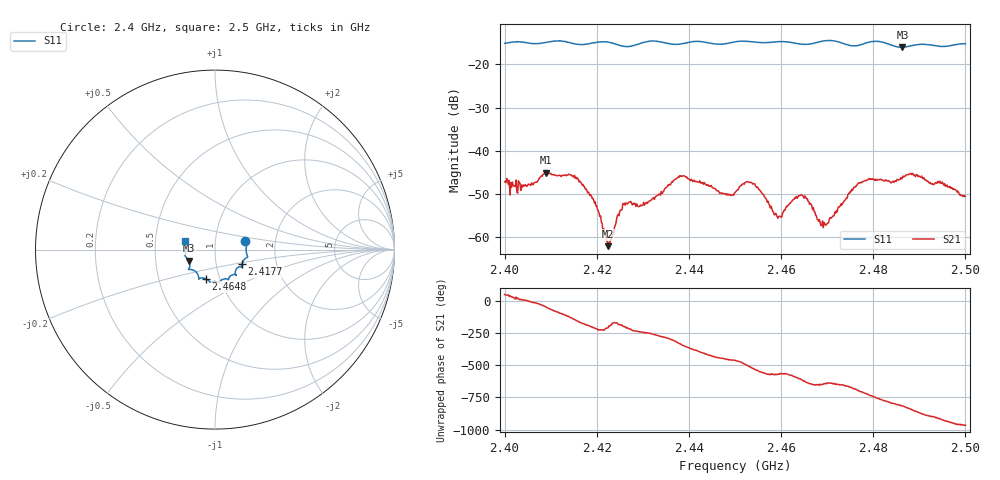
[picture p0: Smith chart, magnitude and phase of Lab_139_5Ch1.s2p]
# Hz S RI R 50
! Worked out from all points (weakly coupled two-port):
!   601 points, 2.4 GHz to 2.5 GHz, reference 50 ohm
!   highest |S21| = -45.05 dB at 2.409 GHz (marker M1); lowest = -62.0 dB at 2.4225 GHz (marker M2)
!   lowest |S11| = -16.1 dB at 2.4863 GHz (marker M3), VSWR 1.37, Z = 37.1 - j4.69 ohm
!   |S11| at or under -10 dB: start of sweep to end of sweep
!   S12 and S22 are empty: the file has one direction only
!   S11 on the Smith chart (normalised r, x): 2.4 GHz: 1.40, +0.14; 2.4177 GHz: 1.34, -0.22; 2.4648 GHz: 0.86, -0.29; 2.5 GHz: 0.71, +0.07
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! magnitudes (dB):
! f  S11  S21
! 2.4 GHz  -15.1  -47.1
! 2.404 GHz  -14.9  -47.9
! 2.409 GHz  -14.9  -45.1
! 2.4167 GHz  -15.4  -47.5
! 2.4177 GHz  -15.4  -48.8
! 2.4198 GHz  -14.9  -52.7
! 2.4225 GHz  -14.9  -62.0
! 2.4262 GHz  -15.9  -52.6
! 2.4295 GHz  -15.2  -52.5
! 2.4333 GHz  -14.7  -50.2
! 2.4385 GHz  -15.3  -45.9
! 2.45 GHz  -14.8  -49.7
! 2.4538 GHz  -14.8  -47.7
! 2.4597 GHz  -14.8  -55.1
! 2.4648 GHz  -15.4  -50.5
! 2.4667 GHz  -15.2  -52.7
! 2.4697 GHz  -14.5  -57.2
! 2.4768 GHz  -15.6  -47.4
! 2.4833 GHz  -15.3  -47.0
! 2.4863 GHz  -16.1  -46.1
! 2.4945 GHz  -15.9  -47.0
! 2.5 GHz  -15.2  -50.5
